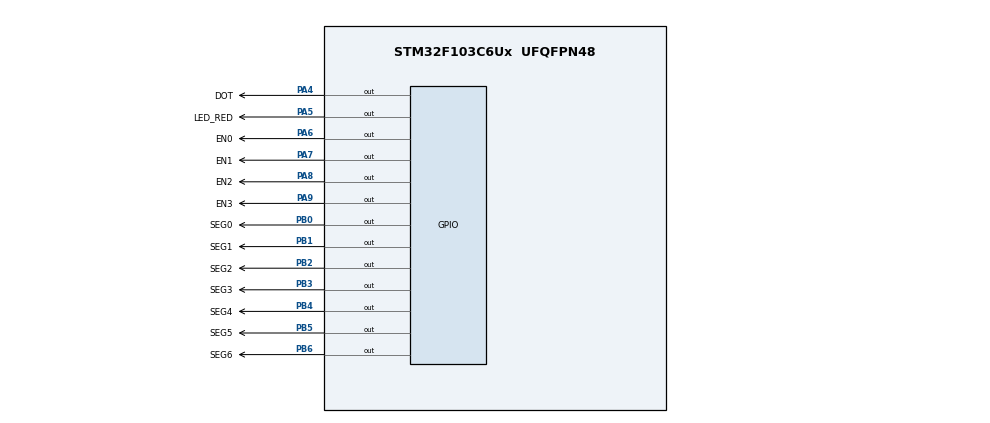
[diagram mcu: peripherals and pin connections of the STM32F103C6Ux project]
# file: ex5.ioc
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Mcu.Family=STM32F1
Mcu.Name=STM32F103C6Ux
Mcu.Package=UFQFPN48
NVIC.PriorityGroup=NVIC_PRIORITYGROUP_4
NVIC.TIM2_IRQn=true\:0\:0\:false\:false\:true\:true\:true
PA4.GPIO_Label=DOT
PA4.Signal=GPIO_Output
PA5.GPIO_Label=LED_RED
PA5.Signal=GPIO_Output
PA6.GPIO_Label=EN0
PA6.Signal=GPIO_Output
PA7.GPIO_Label=EN1
PA7.Signal=GPIO_Output
PA8.GPIO_Label=EN2
PA8.Signal=GPIO_Output
PA9.GPIO_Label=EN3
PA9.Signal=GPIO_Output
PB0.GPIO_Label=SEG0
PB0.Signal=GPIO_Output
PB1.GPIO_Label=SEG1
PB1.Signal=GPIO_Output
PB2.GPIO_Label=SEG2
PB2.Signal=GPIO_Output
PB3.GPIO_Label=SEG3
PB3.Signal=GPIO_Output
PB4.GPIO_Label=SEG4
PB4.Signal=GPIO_Output
PB5.GPIO_Label=SEG5
PB5.Signal=GPIO_Output
PB6.GPIO_Label=SEG6
PB6.Signal=GPIO_Output
ProjectManager.HeapSize=0x200
ProjectManager.StackSize=0x400
ProjectManager.TargetToolchain=STM32CubeIDE
RCC.APB1Freq_Value=8000000
RCC.APB2Freq_Value=8000000
TIM2.Period=9
TIM2.Prescaler=7999
VP_SYS_VS_ND.Mode=No_Debug
VP_TIM2_VS_ClockSourceINT.Mode=Internal
board=custom

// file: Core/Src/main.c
/* USER CODE BEGIN Header */
/**
  ******************************************************************************
  * @file           : main.c
  * @brief          : Main program body
  ******************************************************************************
  * @attention
  *
  * <h2><center>&copy; Copyright (c) 2023 STMicroelectronics.
  * All rights reserved.</center></h2>
  *
  * This software component is licensed by ST under BSD 3-Clause license,
  * the "License"; You may not use this file except in compliance with the
  * License. You may obtain a copy of the License at:
  *                        opensource.org/licenses/BSD-3-Clause
  *
  ******************************************************************************
  */
/* USER CODE END Header */
#include "main.h"
#include "software_timer.h"

TIM_HandleTypeDef htim2;

void SystemClock_Config(void);
static void MX_GPIO_Init(void);
static void MX_TIM2_Init(void);

void display7SEG (int num, GPIO_TypeDef* LEDa_GPIO_Port, uint16_t LEDa_Pin,
		  GPIO_TypeDef* LEDb_GPIO_Port, uint16_t LEDb_Pin,
		  GPIO_TypeDef* LEDc_GPIO_Port, uint16_t LEDc_Pin,
		  GPIO_TypeDef* LEDd_GPIO_Port, uint16_t LEDd_Pin,
		  GPIO_TypeDef* LEDe_GPIO_Port, uint16_t LEDe_Pin,
		  GPIO_TypeDef* LEDf_GPIO_Port, uint16_t LEDf_Pin,
		  GPIO_TypeDef* LEDg_GPIO_Port, uint16_t LEDg_Pin)
  {
	  switch(num)
	  {
	  case 0:
		  HAL_GPIO_WritePin(LEDa_GPIO_Port, LEDa_Pin, GPIO_PIN_RESET);
		  HAL_GPIO_WritePin(LEDb_GPIO_Port, LEDb_Pin, GPIO_PIN_RESET);
		  HAL_GPIO_WritePin(LEDc_GPIO_Port, LEDc_Pin, GPIO_PIN_RESET);
		  HAL_GPIO_WritePin(LEDd_GPIO_Port, LEDd_Pin, GPIO_PIN_RESET);
		  HAL_GPIO_WritePin(LEDe_GPIO_Port, LEDe_Pin, GPIO_PIN_RESET);
		  HAL_GPIO_WritePin(LEDf_GPIO_Port, LEDf_Pin, GPIO_PIN_RESET);
		  HAL_GPIO_WritePin(LEDg_GPIO_Port, LEDg_Pin, GPIO_PIN_SET);
		  break;
	  case 1:
		  HAL_GPIO_WritePin(LEDa_GPIO_Port, LEDa_Pin, GPIO_PIN_SET);
		  HAL_GPIO_WritePin(LEDb_GPIO_Port, LEDb_Pin, GPIO_PIN_RESET);
		  HAL_GPIO_WritePin(LEDc_GPIO_Port, LEDc_Pin, GPIO_PIN_RESET);
		  HAL_GPIO_WritePin(LEDd_GPIO_Port, LEDd_Pin, GPIO_PIN_SET);
		  HAL_GPIO_WritePin(LEDe_GPIO_Port, LEDe_Pin, GPIO_PIN_SET);
		  HAL_GPIO_WritePin(LEDf_GPIO_Port, LEDf_Pin, GPIO_PIN_SET);
		  HAL_GPIO_WritePin(LEDg_GPIO_Port, LEDg_Pin, GPIO_PIN_SET);
		  break;
	  case 2:
		  HAL_GPIO_WritePin(LEDa_GPIO_Port, LEDa_Pin, GPIO_PIN_RESET);
		  HAL_GPIO_WritePin(LEDb_GPIO_Port, LEDb_Pin, GPIO_PIN_RESET);
		  HAL_GPIO_WritePin(LEDc_GPIO_Port, LEDc_Pin, GPIO_PIN_SET);
		  HAL_GPIO_WritePin(LEDd_GPIO_Port, LEDd_Pin, GPIO_PIN_RESET);
		  HAL_GPIO_WritePin(LEDe_GPIO_Port, LEDe_Pin, GPIO_PIN_RESET);
		  HAL_GPIO_WritePin(LEDf_GPIO_Port, LEDf_Pin, GPIO_PIN_SET);
		  HAL_GPIO_WritePin(LEDg_GPIO_Port, LEDg_Pin, GPIO_PIN_RESET);
		  break;
	  case 3:
		  HAL_GPIO_WritePin(LEDa_GPIO_Port, LEDa_Pin, GPIO_PIN_RESET);
		  HAL_GPIO_WritePin(LEDb_GPIO_Port, LEDb_Pin, GPIO_PIN_RESET);
		  HAL_GPIO_WritePin(LEDc_GPIO_Port, LEDc_Pin, GPIO_PIN_RESET);
		  HAL_GPIO_WritePin(LEDd_GPIO_Port, LEDd_Pin, GPIO_PIN_RESET);
		  HAL_GPIO_WritePin(LEDe_GPIO_Port, LEDe_Pin, GPIO_PIN_SET);
		  HAL_GPIO_WritePin(LEDf_GPIO_Port, LEDf_Pin, GPIO_PIN_SET);
		  HAL_GPIO_WritePin(LEDg_GPIO_Port, LEDg_Pin, GPIO_PIN_RESET);
		  break;
	  case 4:
		  HAL_GPIO_WritePin(LEDa_GPIO_Port, LEDa_Pin, GPIO_PIN_SET);
		  HAL_GPIO_WritePin(LEDb_GPIO_Port, LEDb_Pin, GPIO_PIN_RESET);
		  HAL_GPIO_WritePin(LEDc_GPIO_Port, LEDc_Pin, GPIO_PIN_RESET);
		  HAL_GPIO_WritePin(LEDd_GPIO_Port, LEDd_Pin, GPIO_PIN_SET);
		  HAL_GPIO_WritePin(LEDe_GPIO_Port, LEDe_Pin, GPIO_PIN_SET);
		  HAL_GPIO_WritePin(LEDf_GPIO_Port, LEDf_Pin, GPIO_PIN_RESET);
		  HAL_GPIO_WritePin(LEDg_GPIO_Port, LEDg_Pin, GPIO_PIN_RESET);
		  break;
	  case 5:
		  HAL_GPIO_WritePin(LEDa_GPIO_Port, LEDa_Pin, GPIO_PIN_RESET);
		  HAL_GPIO_WritePin(LEDb_GPIO_Port, LEDb_Pin, GPIO_PIN_SET);
		  HAL_GPIO_WritePin(LEDc_GPIO_Port, LEDc_Pin, GPIO_PIN_RESET);
		  HAL_GPIO_WritePin(LEDd_GPIO_Port, LEDd_Pin, GPIO_PIN_RESET);
		  HAL_GPIO_WritePin(LEDe_GPIO_Port, LEDe_Pin, GPIO_PIN_SET);
		  HAL_GPIO_WritePin(LEDf_GPIO_Port, LEDf_Pin, GPIO_PIN_RESET);
		  HAL_GPIO_WritePin(LEDg_GPIO_Port, LEDg_Pin, GPIO_PIN_RESET);
		  break;
	  case 6:
		  HAL_GPIO_WritePin(LEDa_GPIO_Port, LEDa_Pin, GPIO_PIN_RESET);
		  HAL_GPIO_WritePin(LEDb_GPIO_Port, LEDb_Pin, GPIO_PIN_SET);
		  HAL_GPIO_WritePin(LEDc_GPIO_Port, LEDc_Pin, GPIO_PIN_RESET);
		  HAL_GPIO_WritePin(LEDd_GPIO_Port, LEDd_Pin, GPIO_PIN_RESET);
		  HAL_GPIO_WritePin(LEDe_GPIO_Port, LEDe_Pin, GPIO_PIN_RESET);
		  HAL_GPIO_WritePin(LEDf_GPIO_Port, LEDf_Pin, GPIO_PIN_RESET);
		  HAL_GPIO_WritePin(LEDg_GPIO_Port, LEDg_Pin, GPIO_PIN_RESET);
		  break;
	  case 7:
		  HAL_GPIO_WritePin(LEDa_GPIO_Port, LEDa_Pin, GPIO_PIN_RESET);
		  HAL_GPIO_WritePin(LEDb_GPIO_Port, LEDb_Pin, GPIO_PIN_RESET);
		  HAL_GPIO_WritePin(LEDc_GPIO_Port, LEDc_Pin, GPIO_PIN_RESET);
		  HAL_GPIO_WritePin(LEDd_GPIO_Port, LEDd_Pin, GPIO_PIN_SET);
		  HAL_GPIO_WritePin(LEDe_GPIO_Port, LEDe_Pin, GPIO_PIN_SET);
		  HAL_GPIO_WritePin(LEDf_GPIO_Port, LEDf_Pin, GPIO_PIN_SET);
		  HAL_GPIO_WritePin(LEDg_GPIO_Port, LEDg_Pin, GPIO_PIN_SET);
		  break;
	  case 8:
		  HAL_GPIO_WritePin(LEDa_GPIO_Port, LEDa_Pin, GPIO_PIN_RESET);
		  HAL_GPIO_WritePin(LEDb_GPIO_Port, LEDb_Pin, GPIO_PIN_RESET);
		  HAL_GPIO_WritePin(LEDc_GPIO_Port, LEDc_Pin, GPIO_PIN_RESET);
		  HAL_GPIO_WritePin(LEDd_GPIO_Port, LEDd_Pin, GPIO_PIN_RESET);
		  HAL_GPIO_WritePin(LEDe_GPIO_Port, LEDe_Pin, GPIO_PIN_RESET);
		  HAL_GPIO_WritePin(LEDf_GPIO_Port, LEDf_Pin, GPIO_PIN_RESET);
		  HAL_GPIO_WritePin(LEDg_GPIO_Port, LEDg_Pin, GPIO_PIN_RESET);
		  break;
	  case 9:
		  HAL_GPIO_WritePin(LEDa_GPIO_Port, LEDa_Pin, GPIO_PIN_RESET);
		  HAL_GPIO_WritePin(LEDb_GPIO_Port, LEDb_Pin, GPIO_PIN_RESET);
		  HAL_GPIO_WritePin(LEDc_GPIO_Port, LEDc_Pin, GPIO_PIN_RESET);
		  HAL_GPIO_WritePin(LEDd_GPIO_Port, LEDd_Pin, GPIO_PIN_RESET);
		  HAL_GPIO_WritePin(LEDe_GPIO_Port, LEDe_Pin, GPIO_PIN_SET);
		  HAL_GPIO_WritePin(LEDf_GPIO_Port, LEDf_Pin, GPIO_PIN_RESET);
		  HAL_GPIO_WritePin(LEDg_GPIO_Port, LEDg_Pin, GPIO_PIN_RESET);
		  break;
	  }
  }
const int MAX_LED = 4;
int index_led = 0;
int led_buffer[4] = {1,5,0,8};

int hour=15, minute=8, second=50;
void updateClockBuffer()
{
	led_buffer[0] = hour/10;
	led_buffer[1] = hour%10;
	led_buffer[2] = minute/10;
	led_buffer[3] = minute%10;
}

int main(void)
{

  /* MCU Configuration--------------------------------------------------------*/

  /* Reset of all peripherals, Initializes the Flash interface and the Systick. */
  HAL_Init();

  /* Configure the system clock */
  SystemClock_Config();

  /* Initialize all configured peripherals */
  MX_GPIO_Init();
  MX_TIM2_Init();
  /* USER CODE BEGIN 2 */
  HAL_TIM_Base_Start_IT(&htim2);

  /* USER CODE END 2 */

  /* Infinite loop */
  /* USER CODE BEGIN WHILE */
  void update7SEG(int index){
  	switch (index) {
  		case 0:
  			HAL_GPIO_WritePin(EN0_GPIO_Port, EN0_Pin, RESET);
  			HAL_GPIO_WritePin(EN1_GPIO_Port, EN1_Pin, SET);
  			HAL_GPIO_WritePin(EN2_GPIO_Port, EN2_Pin, SET);
  			HAL_GPIO_WritePin(EN3_GPIO_Port, EN3_Pin, SET);
  			break;
  		case 1:
  			HAL_GPIO_WritePin(EN0_GPIO_Port, EN0_Pin, SET);
  			HAL_GPIO_WritePin(EN1_GPIO_Port, EN1_Pin, RESET);
  			HAL_GPIO_WritePin(EN2_GPIO_Port, EN2_Pin, SET);
  			HAL_GPIO_WritePin(EN3_GPIO_Port, EN3_Pin, SET);
  			break;
  		case 2:
  			HAL_GPIO_WritePin(EN0_GPIO_Port, EN0_Pin, SET);
  			HAL_GPIO_WritePin(EN1_GPIO_Port, EN1_Pin, SET);
  			HAL_GPIO_WritePin(EN2_GPIO_Port, EN2_Pin, RESET);
  			HAL_GPIO_WritePin(EN3_GPIO_Port, EN3_Pin, SET);
  			break;
  		case 3:
  			HAL_GPIO_WritePin(EN0_GPIO_Port, EN0_Pin, SET);
  			HAL_GPIO_WritePin(EN1_GPIO_Port, EN1_Pin, SET);
  			HAL_GPIO_WritePin(EN2_GPIO_Port, EN2_Pin, SET);
  			HAL_GPIO_WritePin(EN3_GPIO_Port, EN3_Pin, RESET);
  			break;
  		default:
  			break;
  	}
  	display7SEG(led_buffer[index],SEG0_GPIO_Port, SEG0_Pin,
  			SEG1_GPIO_Port, SEG1_Pin,
  			SEG2_GPIO_Port, SEG2_Pin,
  			SEG3_GPIO_Port, SEG3_Pin,
  			SEG4_GPIO_Port, SEG4_Pin,
  			SEG5_GPIO_Port, SEG5_Pin,
  			SEG6_GPIO_Port, SEG6_Pin);
  }
  setTimer(50,0);
  setTimer(100,1);
  setTimer(10,2);
  while (1)
  {
    /* USER CODE END WHILE */
	if (timer_flag[0] == 1)
	{
		HAL_GPIO_TogglePin(DOT_GPIO_Port, DOT_Pin);
		HAL_GPIO_TogglePin(LED_RED_GPIO_Port, LED_RED_Pin);
		setTimer(50,0);
	}
	if (timer_flag[1] == 1)
	{
		second++;
		if (second >= 60){
			second = 0;
		  	minute++;
		}
		if (minute >= 60){
		  	hour++;
		  	minute = 0;
		}
		if (hour >= 24) hour = 0;

		updateClockBuffer();
		setTimer(100,1);
	}
	if (timer_flag[2] == 1)
	{
		update7SEG(index_led++);
		if(index_led == MAX_LED){
			index_led=0;
		}
		setTimer(10,2);
	}
  }
}

void SystemClock_Config(void)
{
  RCC_OscInitTypeDef RCC_OscInitStruct = {0};
  RCC_ClkInitTypeDef RCC_ClkInitStruct = {0};

  /** Initializes the RCC Oscillators according to the specified parameters
  * in the RCC_OscInitTypeDef structure.
  */
  RCC_OscInitStruct.OscillatorType = RCC_OSCILLATORTYPE_HSI;
  RCC_OscInitStruct.HSIState = RCC_HSI_ON;
  RCC_OscInitStruct.HSICalibrationValue = RCC_HSICALIBRATION_DEFAULT;
  RCC_OscInitStruct.PLL.PLLState = RCC_PLL_NONE;
  if (HAL_RCC_OscConfig(&RCC_OscInitStruct) != HAL_OK)
  {
    Error_Handler();
  }
  /** Initializes the CPU, AHB and APB buses clocks
  */
  RCC_ClkInitStruct.ClockType = RCC_CLOCKTYPE_HCLK|RCC_CLOCKTYPE_SYSCLK
                              |RCC_CLOCKTYPE_PCLK1|RCC_CLOCKTYPE_PCLK2;
  RCC_ClkInitStruct.SYSCLKSource = RCC_SYSCLKSOURCE_HSI;
  RCC_ClkInitStruct.AHBCLKDivider = RCC_SYSCLK_DIV1;
  RCC_ClkInitStruct.APB1CLKDivider = RCC_HCLK_DIV1;
  RCC_ClkInitStruct.APB2CLKDivider = RCC_HCLK_DIV1;

  if (HAL_RCC_ClockConfig(&RCC_ClkInitStruct, FLASH_LATENCY_0) != HAL_OK)
  {
    Error_Handler();
  }
}

static void MX_TIM2_Init(void)
{

  TIM_ClockConfigTypeDef sClockSourceConfig = {0};
  TIM_MasterConfigTypeDef sMasterConfig = {0};

  htim2.Instance = TIM2;
  htim2.Init.Prescaler = 7999;
  htim2.Init.CounterMode = TIM_COUNTERMODE_UP;
  htim2.Init.Period = 9;
  htim2.Init.ClockDivision = TIM_CLOCKDIVISION_DIV1;
  htim2.Init.AutoReloadPreload = TIM_AUTORELOAD_PRELOAD_DISABLE;
  if (HAL_TIM_Base_Init(&htim2) != HAL_OK)
  {
    Error_Handler();
  }
  sClockSourceConfig.ClockSource = TIM_CLOCKSOURCE_INTERNAL;
  if (HAL_TIM_ConfigClockSource(&htim2, &sClockSourceConfig) != HAL_OK)
  {
    Error_Handler();
  }
  sMasterConfig.MasterOutputTrigger = TIM_TRGO_RESET;
  sMasterConfig.MasterSlaveMode = TIM_MASTERSLAVEMODE_DISABLE;
  if (HAL_TIMEx_MasterConfigSynchronization(&htim2, &sMasterConfig) != HAL_OK)
  {
    Error_Handler();
  }

}

static void MX_GPIO_Init(void)
{
  GPIO_InitTypeDef GPIO_InitStruct = {0};

  /* GPIO Ports Clock Enable */
  __HAL_RCC_GPIOA_CLK_ENABLE();
  __HAL_RCC_GPIOB_CLK_ENABLE();

  /*Configure GPIO pin Output Level */
  HAL_GPIO_WritePin(GPIOA, DOT_Pin|LED_RED_Pin|EN0_Pin|EN1_Pin
                          |EN2_Pin|EN3_Pin, GPIO_PIN_RESET);

  /*Configure GPIO pin Output Level */
  HAL_GPIO_WritePin(GPIOB, SEG0_Pin|SEG1_Pin|SEG2_Pin|SEG3_Pin
                          |SEG4_Pin|SEG5_Pin|SEG6_Pin, GPIO_PIN_RESET);

  /*Configure GPIO pins : DOT_Pin LED_RED_Pin EN0_Pin EN1_Pin
                           EN2_Pin EN3_Pin */
  GPIO_InitStruct.Pin = DOT_Pin|LED_RED_Pin|EN0_Pin|EN1_Pin
                          |EN2_Pin|EN3_Pin;
  GPIO_InitStruct.Mode = GPIO_MODE_OUTPUT_PP;
  GPIO_InitStruct.Pull = GPIO_NOPULL;
  GPIO_InitStruct.Speed = GPIO_SPEED_FREQ_LOW;
  HAL_GPIO_Init(GPIOA, &GPIO_InitStruct);

  /*Configure GPIO pins : SEG0_Pin SEG1_Pin SEG2_Pin SEG3_Pin
                           SEG4_Pin SEG5_Pin SEG6_Pin */
  GPIO_InitStruct.Pin = SEG0_Pin|SEG1_Pin|SEG2_Pin|SEG3_Pin
                          |SEG4_Pin|SEG5_Pin|SEG6_Pin;
  GPIO_InitStruct.Mode = GPIO_MODE_OUTPUT_PP;
  GPIO_InitStruct.Pull = GPIO_NOPULL;
  GPIO_InitStruct.Speed = GPIO_SPEED_FREQ_LOW;
  HAL_GPIO_Init(GPIOB, &GPIO_InitStruct);

}

/* USER CODE BEGIN 4 */
void HAL_TIM_PeriodElapsedCallback(TIM_HandleTypeDef *htim)
{
	timer_run(0);
	timer_run(1);
	timer_run(2);

}
/* USER CODE END 4 */

void Error_Handler(void)
{
  __disable_irq();
  while (1)
  {
  }
}

/************************ (C) COPYRIGHT STMicroelectronics *****END OF FILE****/
